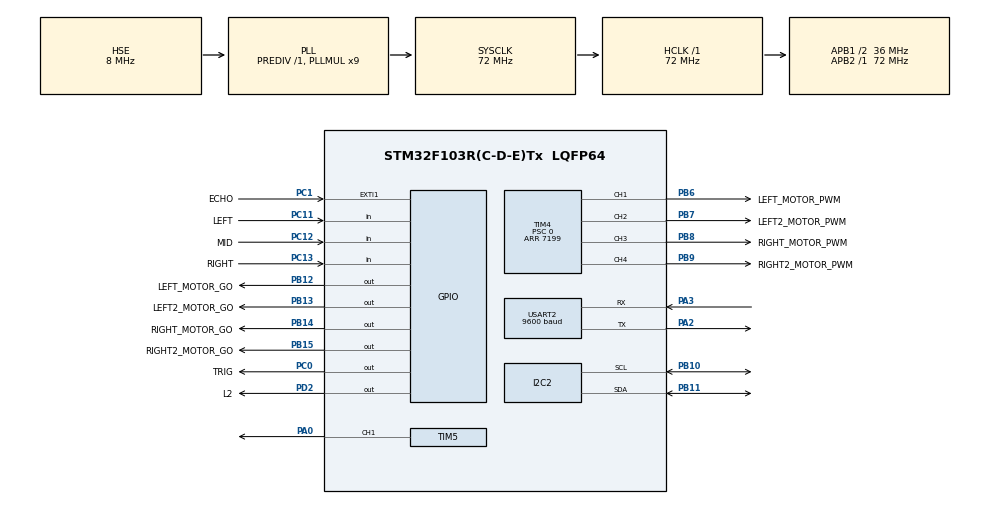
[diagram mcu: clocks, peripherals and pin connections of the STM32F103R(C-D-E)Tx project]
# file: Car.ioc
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Mcu.Family=STM32F1
Mcu.Name=STM32F103R(C-D-E)Tx
Mcu.Package=LQFP64
NVIC.EXTI1_IRQn=true\:1\:0\:true\:false\:true\:true\:true\:true
NVIC.PriorityGroup=NVIC_PRIORITYGROUP_2
NVIC.TIM4_IRQn=true\:1\:0\:true\:false\:true\:true\:true\:true
NVIC.USART2_IRQn=true\:1\:0\:true\:false\:true\:true\:true\:true
PA0-WKUP.Signal=S_TIM5_CH1
PA13.Mode=Serial_Wire
PA13.Signal=SYS_JTMS-SWDIO
PA14.Mode=Serial_Wire
PA14.Signal=SYS_JTCK-SWCLK
PA2.Mode=Asynchronous
PA2.Signal=USART2_TX
PA3.Mode=Asynchronous
PA3.Signal=USART2_RX
PB10.Mode=I2C
PB10.Signal=I2C2_SCL
PB11.Mode=I2C
PB11.Signal=I2C2_SDA
PB12.GPIO_Label=LEFT_MOTOR_GO
PB12.Signal=GPIO_Output
PB13.GPIO_Label=LEFT2_MOTOR_GO
PB13.Signal=GPIO_Output
PB14.GPIO_Label=RIGHT_MOTOR_GO
PB14.GPIO_Speed=GPIO_SPEED_FREQ_LOW
PB14.Signal=GPIO_Output
PB15.GPIO_Label=RIGHT2_MOTOR_GO
PB15.Signal=GPIO_Output
PB6.GPIO_Label=LEFT_MOTOR_PWM
PB6.GPIO_Speed=GPIO_SPEED_FREQ_HIGH
PB6.Signal=S_TIM4_CH1
PB7.GPIO_Label=LEFT2_MOTOR_PWM
PB7.GPIO_Speed=GPIO_SPEED_FREQ_HIGH
PB7.Signal=S_TIM4_CH2
PB8.GPIO_Label=RIGHT_MOTOR_PWM
PB8.GPIO_Speed=GPIO_SPEED_FREQ_HIGH
PB8.Signal=S_TIM4_CH3
PB9.GPIO_Label=RIGHT2_MOTOR_PWM
PB9.GPIO_Speed=GPIO_SPEED_FREQ_HIGH
PB9.Signal=S_TIM4_CH4
PC0.GPIO_Label=TRIG
PC0.GPIO_ModeDefaultOutputPP=GPIO_MODE_OUTPUT_PP
PC0.GPIO_PuPd=GPIO_PULLDOWN
PC0.GPIO_Speed=GPIO_SPEED_FREQ_HIGH
PC0.Signal=GPIO_Output
PC1.GPIO_Label=ECHO
PC1.Signal=GPXTI1
PC11.GPIO_Label=LEFT
PC11.GPIO_PuPd=GPIO_PULLUP
PC11.Signal=GPIO_Input
PC12.GPIO_Label=MID
PC12.GPIO_PuPd=GPIO_PULLUP
PC12.Signal=GPIO_Input
PC13-TAMPER-RTC.GPIO_Label=RIGHT
PC13-TAMPER-RTC.GPIO_PuPd=GPIO_PULLUP
PC13-TAMPER-RTC.Signal=GPIO_Input
PD0-OSC_IN.Mode=HSE-External-Oscillator
PD0-OSC_IN.Signal=RCC_OSC_IN
PD1-OSC_OUT.Mode=HSE-External-Oscillator
PD1-OSC_OUT.Signal=RCC_OSC_OUT
PD2.GPIO_Label=L2
PD2.GPIO_PuPd=GPIO_NOPULL
PD2.Signal=GPIO_Output
ProjectManager.HeapSize=0x200
ProjectManager.StackSize=0x400
ProjectManager.TargetToolchain=STM32CubeIDE
RCC.AHBFreq_Value=72000000
RCC.APB1CLKDivider=RCC_HCLK_DIV2
RCC.APB1Freq_Value=36000000
RCC.APB1TimFreq_Value=72000000
RCC.APB2Freq_Value=72000000
RCC.APB2TimFreq_Value=72000000
RCC.HCLKFreq_Value=72000000
RCC.PLLMUL=RCC_PLL_MUL9
RCC.PLLSourceVirtual=RCC_PLLSOURCE_HSE
RCC.SYSCLKFreq_VALUE=72000000
RCC.SYSCLKSource=RCC_SYSCLKSOURCE_PLLCLK
RCC.USBFreq_Value=72000000
SH.S_TIM4_CH1.0=TIM4_CH1,PWM Generation1 CH1
SH.S_TIM4_CH2.0=TIM4_CH2,PWM Generation2 CH2
SH.S_TIM4_CH3.0=TIM4_CH3,PWM Generation3 CH3
SH.S_TIM4_CH4.0=TIM4_CH4,PWM Generation4 CH4
SH.S_TIM5_CH1.0=TIM5_CH1,PWM Generation1 CH1
TIM1.Prescaler=7199
TIM2.AutoReloadPreload=TIM_AUTORELOAD_PRELOAD_ENABLE
TIM2.Prescaler=71
TIM4.AutoReloadPreload=TIM_AUTORELOAD_PRELOAD_ENABLE
TIM4.Channel-PWM\ Generation1\ CH1=TIM_CHANNEL_1
TIM4.Channel-PWM\ Generation2\ CH2=TIM_CHANNEL_2
TIM4.Channel-PWM\ Generation3\ CH3=TIM_CHANNEL_3
TIM4.Channel-PWM\ Generation4\ CH4=TIM_CHANNEL_4
TIM4.OCMode_PWM-PWM\ Generation1\ CH1=TIM_OCMODE_PWM2
TIM4.OCMode_PWM-PWM\ Generation2\ CH2=TIM_OCMODE_PWM2
TIM4.Period=7199
TIM4.Prescaler=0
TIM5.AutoReloadPreload=TIM_AUTORELOAD_PRELOAD_ENABLE
TIM5.Channel-PWM\ Generation1\ CH1=TIM_CHANNEL_1
TIM5.Period=9999
TIM5.Prescaler=143
USART2.BaudRate=9600
USART2.VirtualMode=VM_ASYNC
VP_TIM1_VS_ClockSourceINT.Mode=Internal
VP_TIM2_VS_ClockSourceINT.Mode=Internal
VP_TIM4_VS_ClockSourceINT.Mode=Internal
VP_TIM5_VS_ClockSourceINT.Mode=Internal
board=custom

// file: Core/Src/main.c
/* USER CODE BEGIN Header */
/**
 ******************************************************************************
 * @file : main.c
 * @brief : Main program body
 ******************************************************************************
 * @attention
 *
 * Copyright (c) 2024 STMicroelectronics.
 * All rights reserved.
 *
 * This software is licensed under terms that can be found in the LICENSE file
 * in the root directory of this software component.
 * If no LICENSE file comes with this software, it is provided AS-IS.
 *
 ******************************************************************************
 */
/* USER CODE END Header */
#include "main.h"
#include "i2c.h"
#include "tim.h"
#include "usart.h"
#include "gpio.h"

/* USER CODE BEGIN Includes */
#include "motor.h"
#include "Server.h"
#include "UltrasonicWave.h"
#include "bluetooth.h"
#include "MPU6050.h"
#include "infraredTrack.h"
/* USER CODE END Includes */

/* USER CODE BEGIN PV */
extern TIM_HandleTypeDef htim4;
extern TIM_HandleTypeDef htim5;
uint8_t rxBuffer[38]; // Add receive buffer
char direction;
int yaw;
float current_pitch, current_roll, current_yaw;
/* USER CODE END PV */

void SystemClock_Config(void);

/* USER CODE BEGIN 0 */
#include <stdio.h>
#include <stdbool.h>
#define SIZE 4

int detectgrid[SIZE][SIZE] = {0}; // 最终返回检测到的障碍物. 0: 未检测 1：障碍物 2：空格 3:不可达
int grid[SIZE][SIZE] = {0};       // 0:未检测 1:已探测到的障碍物 2：标记一条可能的路径（下次迭代时删除）
int realgrid[SIZE][SIZE] = {
    {0, 0, 1, 0},
    {1, 1, 1, 0},
    {0, 0, 1, 0},
    {0, 0, 0, 0}};                      // 模拟真实的障碍物位置
char directionGrid[SIZE][SIZE] = {'O'}; // 计算后的一次路径
char currentDir = '^';
bool visited[SIZE][SIZE] = {false}; // 一次dfs
int startX, startY, endX, endY;
int currentX, currentY;
int obstacle_detect_start, obstacle_detect_end;

int directions[4][2] = {
    {1, 0},  // 下
    {-1, 0}, // 上
    {0, 1},  // 右
    {0, -1}  // 左
};

char directionChars[4] = {'v', '^', '>', '<'};

bool canMove(int x, int y)
{

    return (x >= 0 && x < SIZE && y >= 0 && y < SIZE && grid[x][y] == 0 && !visited[x][y]);
}
bool dfs(int x, int y)
{ // 根据一对起点和终点计算一条路径
    if (x == endX && y == endY)
    {
        return true;
    }

    visited[x][y] = true;

    for (int i = 0; i < 4; i++)
    {
        int newX = x + directions[i][0];
        int newY = y + directions[i][1];

        if (canMove(newX, newY))
        {
            grid[newX][newY] = 2;

            directionGrid[x][y] = directionChars[i];

            if (dfs(newX, newY))
            {
                return true;
            }

            grid[newX][newY] = 0;
            directionGrid[newX][newY] = 'O';
        }
    }

    visited[x][y] = false;
    return false;
}

void initializeGrid()
{
    for (int i = 0; i < SIZE; i++)
    {
        for (int j = 0; j < SIZE; j++)
        {
            directionGrid[i][j] = 'O';
            visited[i][j] = false;
            if (detectgrid[i][j] == 1)
            {
                grid[i][j] = 1;
            }
            else
                grid[i][j] = 0;
        }
    }
}

void printGrid()
{
    printf("网格状态:\n");
    for (int i = 0; i < SIZE; i++)
    {
        for (int j = 0; j < SIZE; j++)
        {
            if (grid[i][j] == 1)
            {
                printf("X "); // 障碍物
            }
            else if (grid[i][j] == 2)
            {
                printf("%c ", directionGrid[i][j]);
            }
            else
            {
                printf("O "); // 空格
            }
        }
        printf("\n");
    }
}

bool detectionComplete()
{
    for (int i = 0; i < SIZE; i++)
    {
        for (int j = 0; j < SIZE; j++)
        {
            if (detectgrid[i][j] == 0)
                return false;
        }
    }
    return true;
}

void adaptHead(char dir)
{
    if (dir == '^')
    {
        switch (currentDir)
        {
        case '<': // turnRight90
            break;
        case '>': // turnLeft90
            break;
        case 'v': // turnRight180
            break;
        }
    }
    else if (dir == 'v')
    {
        switch (currentDir)
        {
        case '<': // turnLeft90
            break;
        case '>': // turnRight90
            break;
        case '^': // turnRight180
            break;
        }
    }
    else if (dir == '<')
    {
        switch (currentDir)
        {
        case 'v': // turnRight90
            break;
        case '>': // turnRight180
            break;
        case '^': // turnLeft90
            break;
        }
    }
    else if (dir == '>')
    {
        switch (currentDir)
        {
        case '<': // turnRight180
            break;
        case 'v': // turnLeft90
            break;
        case '^': // turnRight90
            break;
        }
    }
    currentDir = dir;
}

int detect(int nextX, int nextY)
{
    // 原本是超声波测距，先用数组代替测距结果
    if (realgrid[nextX][nextY] == 1)
    {
        return 50;
    }
    else
        return 100;
}

void mark_path()
{
    while (SIZE * currentX + currentY != SIZE * endX + endY)
    {
        adaptHead(directionGrid[currentX][currentY]);
        int nextX, nextY;
        switch (currentDir)
        {
        case '<':
            nextX = currentX;
            nextY = currentY - 1;
            break;
        case '>':
            nextX = currentX;
            nextY = currentY + 1;
            break;
        case '^':
            nextX = currentX - 1;
            nextY = currentY;
            break;
        case 'v':
            nextX = currentX + 1;
            nextY = currentY;
            break;
        }
        int dis = detect(nextX, nextY);
        if (dis < 80)
        {
            detectgrid[nextX][nextY] = 1;
            // 传输一格探测结果到上位机
            SendEnvDetectData(SIZE * nextX + nextY, 1);
            break;
        }
        detectgrid[nextX][nextY] = 2;
        // 传输一格探测结果到上位机
        SendEnvDetectData(SIZE * nextX + nextY, 2);
        // TODO: moveForward() 向前移动80cm
        currentX = nextX;
        currentY = nextY;
    }
    return;
}

void obstacle_detect(uint8_t start, uint8_t end)
{
    // TODO: 在这里收到起点和终点坐标
    currentX = start / 4;
    currentY = start % 4;
    endX = end / 4;
    endY = end % 4;
    printf("start: %d, %d\n", currentX, currentY);
    printf("end: %d, %d\n", endX, endY);
    detectgrid[currentX][currentY] = 2;
    detectgrid[endX][endY] = 2;

    while (!detectionComplete())
    {

        initializeGrid();
        bool found = false;
        for (int i = 0; i < SIZE; i++)
        {
            if (found)
                break;
            for (int j = 0; j < SIZE; j++)
            {
                if (detectgrid[i][j] == 0)
                {
                    endX = i;
                    endY = j;
                    found = true;
                    break;
                }
            }
        }
        startX = currentX;
        startY = currentY;
        if (dfs(startX, startY))
        {
            mark_path();
        }
        else
        {
            detectgrid[endX][endY] = 3;
        }
    }
    // 找到所有障碍物，移动到终点
    startX = currentX;
    startY = currentY;
    endX = obstacle_detect_end / 4;
    endY = obstacle_detect_end % 4;
    initializeGrid();
    dfs(startX, startY);
    mark_path();
}
/* USER CODE END 0 */

int main(void)
{

    /* MCU Configuration--------------------------------------------------------*/

    /* Reset of all peripherals, Initializes the Flash interface and the Systick. */
    HAL_Init();

    /* Initialize all configured peripherals */
    MX_GPIO_Init();
    MX_TIM4_Init();
    MX_TIM2_Init();
    MX_TIM5_Init();
    MX_USART2_UART_Init();
    MX_I2C2_Init();
    MX_TIM1_Init();
    /* USER CODE BEGIN 2 */
    HAL_TIM_PWM_Start(&htim5, TIM_CHANNEL_1);
    motorInit();
    motorBreak();
    int ret = 0;
    do
    {
        ret = MPU6050_DMP_init();
    } while (ret); // 初始化mpu 直到初始化完�???
    HAL_UART_Receive_IT(&huart2, rxBuffer, 1); // Start interrupt receive

    /* USER CODE END 2 */

    /* Infinite loop */
    /* USER CODE BEGIN WHILE */
    while (1)
    {
        // HAL_GPIO_WritePin(L1_GPIO_Port, L1_Pin, GPIO_PIN_RESET);
        // HAL_GPIO_WritePin(L2_GPIO_Port, L2_Pin, GPIO_PIN_RESET);
        // motorBreak();
        // uint8_t distance = (uint8_t)front_detection();
        SendDistanceData(front_detection());
        HAL_Delay(200);
        int mode = GetCurrentMode();
        if (mode == MODE_LINE_TRACK)
        {
            SearchRun();
        }
        else if (mode == MODE_MANUAL)
        {
            SendDistanceData(front_detection());
        }
        /* USER CODE END WHILE */

        /* USER CODE BEGIN 3 */

        // SearchRun();
        // TurnRight_angle(&htim4, 90);
        // HAL_Delay(3000);
        // TurnLeft_angle(&htim4, 60);
        // HAL_Delay(3000);
    }
    /* USER CODE END 3 */
}

void SystemClock_Config(void)
{
    RCC_OscInitTypeDef RCC_OscInitStruct = {0};
    RCC_ClkInitTypeDef RCC_ClkInitStruct = {0};

    /** Initializes the RCC Oscillators according to the specified parameters
     * in the RCC_OscInitTypeDef structure.
     */
    RCC_OscInitStruct.OscillatorType = RCC_OSCILLATORTYPE_HSE;
    RCC_OscInitStruct.HSEState = RCC_HSE_ON;
    RCC_OscInitStruct.HSEPredivValue = RCC_HSE_PREDIV_DIV1;
    RCC_OscInitStruct.HSIState = RCC_HSI_ON;
    RCC_OscInitStruct.PLL.PLLState = RCC_PLL_ON;
    RCC_OscInitStruct.PLL.PLLSource = RCC_PLLSOURCE_HSE;
    RCC_OscInitStruct.PLL.PLLMUL = RCC_PLL_MUL9;
    if (HAL_RCC_OscConfig(&RCC_OscInitStruct) != HAL_OK)
    {
        Error_Handler();
    }

    /** Initializes the CPU, AHB and APB buses clocks
     */
    RCC_ClkInitStruct.ClockType = RCC_CLOCKTYPE_HCLK | RCC_CLOCKTYPE_SYSCLK | RCC_CLOCKTYPE_PCLK1 | RCC_CLOCKTYPE_PCLK2;
    RCC_ClkInitStruct.SYSCLKSource = RCC_SYSCLKSOURCE_PLLCLK;
    RCC_ClkInitStruct.AHBCLKDivider = RCC_SYSCLK_DIV1;
    RCC_ClkInitStruct.APB1CLKDivider = RCC_HCLK_DIV2;
    RCC_ClkInitStruct.APB2CLKDivider = RCC_HCLK_DIV1;

    if (HAL_RCC_ClockConfig(&RCC_ClkInitStruct, FLASH_LATENCY_2) != HAL_OK)
    {
        Error_Handler();
    }
}

void Error_Handler(void)
{
    __disable_irq();
    while (1)
    {
    }
}
